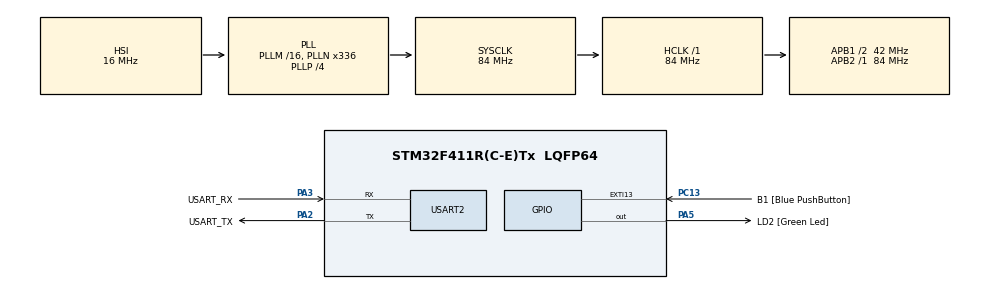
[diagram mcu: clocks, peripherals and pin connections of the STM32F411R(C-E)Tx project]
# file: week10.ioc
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Mcu.Family=STM32F4
Mcu.Name=STM32F411R(C-E)Tx
Mcu.Package=LQFP64
NVIC.PriorityGroup=NVIC_PRIORITYGROUP_0
NVIC.USART2_IRQn=true\:0\:0\:false\:false\:true\:true\:true
PA13.GPIO_Label=TMS
PA13.Mode=Serial_Wire
PA13.Signal=SYS_JTMS-SWDIO
PA14.GPIO_Label=TCK
PA14.Mode=Serial_Wire
PA14.Signal=SYS_JTCK-SWCLK
PA2.GPIO_Label=USART_TX
PA2.Mode=Asynchronous
PA2.Signal=USART2_TX
PA3.GPIO_Label=USART_RX
PA3.Mode=Asynchronous
PA3.Signal=USART2_RX
PA5.GPIO_Label=LD2 [Green Led]
PA5.Signal=GPIO_Output
PB3.GPIO_Label=SWO
PB3.Signal=SYS_JTDO-SWO
PC13-ANTI_TAMP.GPIO_Label=B1 [Blue PushButton]
PC13-ANTI_TAMP.GPIO_ModeDefaultEXTI=GPIO_MODE_IT_FALLING
PC13-ANTI_TAMP.Signal=GPXTI13
PC14-OSC32_IN.Mode=LSE-External-Oscillator
PC14-OSC32_IN.Signal=RCC_OSC32_IN
PC15-OSC32_OUT.Mode=LSE-External-Oscillator
PC15-OSC32_OUT.Signal=RCC_OSC32_OUT
PH0\ -\ OSC_IN.Mode=HSE-External-Clock-Source
PH0\ -\ OSC_IN.Signal=RCC_OSC_IN
PH1\ -\ OSC_OUT.Mode=HSE-External-Clock-Source
PH1\ -\ OSC_OUT.Signal=RCC_OSC_OUT
ProjectManager.HeapSize=0x200
ProjectManager.StackSize=0x400
ProjectManager.TargetToolchain=STM32CubeIDE
RCC.48MHZClocksFreq_Value=84000000
RCC.AHBFreq_Value=84000000
RCC.APB1CLKDivider=RCC_HCLK_DIV2
RCC.APB1Freq_Value=42000000
RCC.APB1TimFreq_Value=84000000
RCC.APB2Freq_Value=84000000
RCC.APB2TimFreq_Value=84000000
RCC.CortexFreq_Value=84000000
RCC.FLatency-AdvancedSettings=FLASH_LATENCY_2
RCC.HCLKFreq_Value=84000000
RCC.HSE_VALUE=8000000
RCC.HSI_VALUE=16000000
RCC.PLLN=336
RCC.PLLP=RCC_PLLP_DIV4
RCC.SYSCLKFreq_VALUE=84000000
RCC.SYSCLKSource=RCC_SYSCLKSOURCE_PLLCLK
RCC.VCOOutputFreq_Value=336000000
USART2.VirtualMode=VM_ASYNC
board=NUCLEO-F411RE

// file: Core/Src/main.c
/* USER CODE BEGIN Header */
/**
 ******************************************************************************
 * @file           : main.c
 * @brief          : Main program body
 ******************************************************************************
 * @attention
 *
 * <h2><center>&copy; Copyright (c) 2021 STMicroelectronics.
 * All rights reserved.</center></h2>
 *
 * This software component is licensed by ST under BSD 3-Clause license,
 * the "License"; You may not use this file except in compliance with the
 * License. You may obtain a copy of the License at:
 *                        opensource.org/licenses/BSD-3-Clause
 *
 ******************************************************************************
 */
/* USER CODE END Header */
#include "main.h"

/* USER CODE BEGIN Includes */
#include <stdio.h> //sprintf
#include <string.h>//strlen
/* USER CODE END Includes */

UART_HandleTypeDef huart2;

/* USER CODE BEGIN PV */
char TxDataBuffer[32] =
{ 0 };
char RxDataBuffer[32] =
{ 0 };
char Menu[100] =
{ 0 };
enum
{
	start_Menu = 1,
	wait_input = 2,
	Menu_0 = 3,
	Menu_0_wait_input = 33,
	Menu_1 = 4,
	Menu_1_wait_input = 44,
};
uint8_t state = 1;
uint8_t sclk[2] = {0};
uint8_t LED = 0;
float LED_TOGGLE_DELAY = 0;
int freq = 1;
uint64_t timestamp = 0;
/* USER CODE END PV */

void SystemClock_Config(void);
static void MX_GPIO_Init(void);
static void MX_USART2_UART_Init(void);
/* USER CODE BEGIN PFP */
void UARTRecieveAndResponsePolling();
int16_t UARTRecieveIT();
/* USER CODE END PFP */

int main(void)
{

  /* MCU Configuration--------------------------------------------------------*/

  /* Reset of all peripherals, Initializes the Flash interface and the Systick. */
  HAL_Init();

  /* Configure the system clock */
  SystemClock_Config();

  /* Initialize all configured peripherals */
  MX_GPIO_Init();
  MX_USART2_UART_Init();
  /* USER CODE BEGIN 2 */
//  {
//  char temp[]="HELLO WORLD\r\n please type something to test UART\r\n";
//  HAL_UART_Transmit(&huart2, (uint8_t*)temp, strlen(temp),1000);
//  }
  /* USER CODE END 2 */

  /* Infinite loop */
  /* USER CODE BEGIN WHILE */
	while (1)
	{
		/*Method 1 Polling Mode*/

//		UARTRecieveAndResponsePolling();

		/*Method 2 Interrupt Mode*/
//		HAL_UART_Receive_IT(&huart2,  (uint8_t*)RxDataBuffer, 32);

		/*Method 2 W/ 1 Char Received*/
//		int16_t inputchar = UARTRecieveIT();
//		if(inputchar!=-1)
//		{
//
//			sprintf(TxDataBuffer, "ReceivedChar:[%c]\r\n", inputchar);
//			HAL_UART_Transmit(&huart2, (uint8_t*)TxDataBuffer, strlen(TxDataBuffer), 1000);
//		}

		/*Method 2 Interrupt Mode*/
		HAL_UART_Receive_IT(&huart2,  (uint8_t*)RxDataBuffer, 64);

		/*Method 2 W/ 1 Char Received*/
		int16_t inputchar = UARTRecieveIT();
		if(inputchar!=-1)
		{
			//Display Input
			sprintf(TxDataBuffer, "%c\r\n", inputchar);
			HAL_UART_Transmit(&huart2, (uint8_t*)TxDataBuffer, strlen(TxDataBuffer), 1000);
		}

		/*Menu start*/
		switch(state)
		{
		case start_Menu:
			sprintf(Menu, "Menu\r\n 0.LEDControl\n\r 1.ButtonStatus\n\r");
			HAL_UART_Transmit(&huart2, (uint8_t*)Menu, strlen(Menu), 1000);
			state = wait_input;
			break;
		case wait_input:
			switch(inputchar)
			{
			case -1:  //No Input
				break;
			case '0':
				state = Menu_0;
				break;
			case '1':
				state = Menu_1;
				break;
			default:
				sprintf(Menu, "Error! You can press only 0 or 1.\r\n");
				HAL_UART_Transmit(&huart2, (uint8_t*)Menu, strlen(Menu), 1000);
				break;
			}
			break;
		case Menu_0:
			sprintf(Menu, "Menu 0\r\n a.Speed Up +1Hz\r\n s.Speed down -1Hz\r\n"
					" d.On/Off\r\n x.back\r\n");
			HAL_UART_Transmit(&huart2, (uint8_t*)Menu, strlen(Menu), 1000);
			state = Menu_0_wait_input;
			break;

		case Menu_0_wait_input:
			switch(inputchar)
			{
			case -1:  //No Input
				break;
			case 'a':
				freq +=1;
				sprintf(Menu, "LED freq %d Hz\r\n",freq);
				HAL_UART_Transmit(&huart2, (uint8_t*)Menu, strlen(Menu), 1000);
				break;
			case 's':
				freq -=1;
				if(freq <= 0)
				{
					freq = 0;
				}
				sprintf(Menu, "LED freq %d Hz\r\n",freq);
				HAL_UART_Transmit(&huart2, (uint8_t*)Menu, strlen(Menu), 1000);
				break;
		//========================================================================//
			case 'd':
				if(LED == 1)
				{
					sprintf(Menu, "Turn off\r\n");
					HAL_UART_Transmit(&huart2, (uint8_t*)Menu, strlen(Menu), 1000);
					LED = 0;
				}
				else if(LED == 0) // <-------------------------------
				{
					sprintf(Menu, "Turn on\r\n");
					HAL_UART_Transmit(&huart2, (uint8_t*)Menu, strlen(Menu), 1000);
					LED = 1;
				}

				break;
		//===========================================================================//
			case 'x':
				state = start_Menu;
				break;
			default:
				sprintf(Menu, "Error!\r\n");
				HAL_UART_Transmit(&huart2, (uint8_t*)Menu, strlen(Menu), 1000);
				break;
			}
			break;
		case Menu_1:
			sprintf(Menu, "Menu 1\r\n x.back\r\n blue botton show status\r\n");
			HAL_UART_Transmit(&huart2, (uint8_t*)Menu, strlen(Menu), 1000);
			state = Menu_1_wait_input;
			break;
		case Menu_1_wait_input:
			switch(inputchar)
			{
				case -1:  //No Input
					break;
				case 'x':
					state = start_Menu;
					break;
				default:
					sprintf(Menu, "Error!\r\n");
					HAL_UART_Transmit(&huart2, (uint8_t*)Menu, strlen(Menu), 1000);
					break;
			}

			//blue botton
			sclk[0] = HAL_GPIO_ReadPin(GPIOC, GPIO_PIN_13);
			//sclk[0] = HAL_GPIO_ReadPin(B1_GPIO_Port, B1_Pin);
			if(sclk[0] == 0 && sclk[1] == 1)
			{
				sprintf(Menu, " Press\r\n");
				HAL_UART_Transmit(&huart2, (uint8_t*)Menu, strlen(Menu), 1000);
			}
			else if(sclk[0] == 1 && sclk[1] == 0)
			{
				sprintf(Menu, " Unpress\r\n");
				HAL_UART_Transmit(&huart2, (uint8_t*)Menu, strlen(Menu), 1000);
			}
			else
			{

			}
			sclk[1] = sclk[0];
			break;

		}

		/*This section just simmulate Work Load*/
		if(LED == 0)//turn off
		{
			HAL_GPIO_WritePin(LD2_GPIO_Port, LD2_Pin, GPIO_PIN_RESET);
		}
		if(LED == 1)//turn on
		{
			if(freq == 0)
			{
				HAL_GPIO_WritePin(LD2_GPIO_Port, LD2_Pin, GPIO_PIN_SET);
			}
			else
			{
				LED_TOGGLE_DELAY = 1000/freq/2.0;
				if(HAL_GetTick()-timestamp >= LED_TOGGLE_DELAY)
				{
					timestamp = HAL_GetTick();
					HAL_GPIO_TogglePin(LD2_GPIO_Port, LD2_Pin);
				}
			}
		}
//		HAL_Delay(100);
//		HAL_GPIO_TogglePin(LD2_GPIO_Port, LD2_Pin);
    /* USER CODE END WHILE */

	}
}

void SystemClock_Config(void)
{
  RCC_OscInitTypeDef RCC_OscInitStruct = {0};
  RCC_ClkInitTypeDef RCC_ClkInitStruct = {0};

  /** Configure the main internal regulator output voltage
  */
  __HAL_RCC_PWR_CLK_ENABLE();
  __HAL_PWR_VOLTAGESCALING_CONFIG(PWR_REGULATOR_VOLTAGE_SCALE1);
  /** Initializes the RCC Oscillators according to the specified parameters
  * in the RCC_OscInitTypeDef structure.
  */
  RCC_OscInitStruct.OscillatorType = RCC_OSCILLATORTYPE_HSI;
  RCC_OscInitStruct.HSIState = RCC_HSI_ON;
  RCC_OscInitStruct.HSICalibrationValue = RCC_HSICALIBRATION_DEFAULT;
  RCC_OscInitStruct.PLL.PLLState = RCC_PLL_ON;
  RCC_OscInitStruct.PLL.PLLSource = RCC_PLLSOURCE_HSI;
  RCC_OscInitStruct.PLL.PLLM = 16;
  RCC_OscInitStruct.PLL.PLLN = 336;
  RCC_OscInitStruct.PLL.PLLP = RCC_PLLP_DIV4;
  RCC_OscInitStruct.PLL.PLLQ = 4;
  if (HAL_RCC_OscConfig(&RCC_OscInitStruct) != HAL_OK)
  {
    Error_Handler();
  }
  /** Initializes the CPU, AHB and APB buses clocks
  */
  RCC_ClkInitStruct.ClockType = RCC_CLOCKTYPE_HCLK|RCC_CLOCKTYPE_SYSCLK
                              |RCC_CLOCKTYPE_PCLK1|RCC_CLOCKTYPE_PCLK2;
  RCC_ClkInitStruct.SYSCLKSource = RCC_SYSCLKSOURCE_PLLCLK;
  RCC_ClkInitStruct.AHBCLKDivider = RCC_SYSCLK_DIV1;
  RCC_ClkInitStruct.APB1CLKDivider = RCC_HCLK_DIV2;
  RCC_ClkInitStruct.APB2CLKDivider = RCC_HCLK_DIV1;

  if (HAL_RCC_ClockConfig(&RCC_ClkInitStruct, FLASH_LATENCY_2) != HAL_OK)
  {
    Error_Handler();
  }
}

static void MX_USART2_UART_Init(void)
{

  huart2.Instance = USART2;
  huart2.Init.BaudRate = 115200;
  huart2.Init.WordLength = UART_WORDLENGTH_8B;
  huart2.Init.StopBits = UART_STOPBITS_1;
  huart2.Init.Parity = UART_PARITY_NONE;
  huart2.Init.Mode = UART_MODE_TX_RX;
  huart2.Init.HwFlowCtl = UART_HWCONTROL_NONE;
  huart2.Init.OverSampling = UART_OVERSAMPLING_16;
  if (HAL_UART_Init(&huart2) != HAL_OK)
  {
    Error_Handler();
  }

}

static void MX_GPIO_Init(void)
{
  GPIO_InitTypeDef GPIO_InitStruct = {0};

  /* GPIO Ports Clock Enable */
  __HAL_RCC_GPIOC_CLK_ENABLE();
  __HAL_RCC_GPIOH_CLK_ENABLE();
  __HAL_RCC_GPIOA_CLK_ENABLE();
  __HAL_RCC_GPIOB_CLK_ENABLE();

  /*Configure GPIO pin Output Level */
  HAL_GPIO_WritePin(LD2_GPIO_Port, LD2_Pin, GPIO_PIN_RESET);

  /*Configure GPIO pin : B1_Pin */
  GPIO_InitStruct.Pin = B1_Pin;
  GPIO_InitStruct.Mode = GPIO_MODE_IT_FALLING;
  GPIO_InitStruct.Pull = GPIO_NOPULL;
  HAL_GPIO_Init(B1_GPIO_Port, &GPIO_InitStruct);

  /*Configure GPIO pin : LD2_Pin */
  GPIO_InitStruct.Pin = LD2_Pin;
  GPIO_InitStruct.Mode = GPIO_MODE_OUTPUT_PP;
  GPIO_InitStruct.Pull = GPIO_NOPULL;
  GPIO_InitStruct.Speed = GPIO_SPEED_FREQ_LOW;
  HAL_GPIO_Init(LD2_GPIO_Port, &GPIO_InitStruct);

}

/* USER CODE BEGIN 4 */
void UARTRecieveAndResponsePolling()
{
	char Recieve[32]={0};

	HAL_UART_Receive(&huart2, (uint8_t*)Recieve, 32, 1000);

	sprintf(TxDataBuffer, "Received:[%s]\r\n", Recieve);
	HAL_UART_Transmit(&huart2, (uint8_t*)TxDataBuffer, strlen(TxDataBuffer), 1000);

}

int16_t UARTRecieveIT()
{
	static uint32_t dataPos =0;
	int16_t data=-1;
	if(huart2.RxXferSize - huart2.RxXferCount!=dataPos)
	{
		data=RxDataBuffer[dataPos];
		dataPos= (dataPos+1)%huart2.RxXferSize;
	}
	return data;
}

void HAL_UART_RxCpltCallback(UART_HandleTypeDef *huart)
{
	sprintf(TxDataBuffer, "Received:[%s]\r\n", RxDataBuffer);
	HAL_UART_Transmit(&huart2, (uint8_t*)TxDataBuffer, strlen(TxDataBuffer), 1000);
}
/* USER CODE END 4 */

void Error_Handler(void)
{
	__disable_irq();
	while (1)
	{
	}
}

/************************ (C) COPYRIGHT STMicroelectronics *****END OF FILE****/
